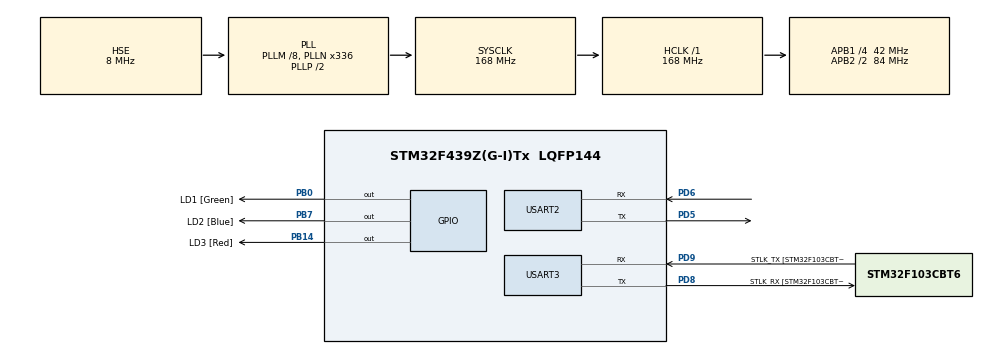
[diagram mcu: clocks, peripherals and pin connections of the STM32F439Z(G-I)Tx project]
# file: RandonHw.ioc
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Mcu.Family=STM32F4
Mcu.Name=STM32F439Z(G-I)Tx
Mcu.Package=LQFP144
NVIC.PriorityGroup=NVIC_PRIORITYGROUP_4
PA13.Mode=Trace_Asynchronous_SW
PA13.Signal=SYS_JTMS-SWDIO
PA14.Mode=Trace_Asynchronous_SW
PA14.Signal=SYS_JTCK-SWCLK
PB0.GPIO_Label=LD1 [Green]
PB0.Signal=GPIO_Output
PB14.GPIO_Label=LD3 [Red]
PB14.Signal=GPIO_Output
PB3.Mode=Trace_Asynchronous_SW
PB3.Signal=SYS_JTDO-SWO
PB7.GPIO_Label=LD2 [Blue]
PB7.Signal=GPIO_Output
PC14/OSC32_IN.Mode=LSE-External-Oscillator
PC14/OSC32_IN.Signal=RCC_OSC32_IN
PC15/OSC32_OUT.Mode=LSE-External-Oscillator
PC15/OSC32_OUT.Signal=RCC_OSC32_OUT
PD5.Mode=Asynchronous
PD5.Signal=USART2_TX
PD6.Mode=Asynchronous
PD6.Signal=USART2_RX
PD8.GPIO_Label=STLK_RX [STM32F103CBT6_PA3]
PD8.Mode=Asynchronous
PD8.Signal=USART3_TX
PD9.GPIO_Label=STLK_TX [STM32F103CBT6_PA2]
PD9.Mode=Asynchronous
PD9.Signal=USART3_RX
PH0/OSC_IN.Mode=HSE-External-Clock-Source
PH0/OSC_IN.Signal=RCC_OSC_IN
PH1/OSC_OUT.Mode=HSE-External-Clock-Source
PH1/OSC_OUT.Signal=RCC_OSC_OUT
ProjectManager.HeapSize=0x200
ProjectManager.StackSize=0x400
ProjectManager.TargetToolchain=CMake
RCC.48MHZClocksFreq_Value=48000000
RCC.AHBFreq_Value=168000000
RCC.APB1CLKDivider=RCC_HCLK_DIV4
RCC.APB1Freq_Value=42000000
RCC.APB1TimFreq_Value=84000000
RCC.APB2CLKDivider=RCC_HCLK_DIV2
RCC.APB2Freq_Value=84000000
RCC.APB2TimFreq_Value=168000000
RCC.CortexFreq_Value=168000000
RCC.HCLKFreq_Value=168000000
RCC.HSE_VALUE=8000000
RCC.HSI_VALUE=16000000
RCC.PLLM=8
RCC.PLLMUL=RCC_PLL_MUL9
RCC.PLLN=336
RCC.PLLQ=7
RCC.PLLSourceVirtual=RCC_PLLSOURCE_HSE
RCC.PRESCALERUSB=RCC_USBCLKSOURCE_PLL_DIV1_5
RCC.SYSCLKFreq_VALUE=168000000
RCC.SYSCLKSource=RCC_SYSCLKSOURCE_PLLCLK
RCC.SYSCLKSourceVirtual=RCC_SYSCLKSOURCE_PLLCLK
RCC.USBFreq_Value=48000000
RCC.VCOOutputFreq_Value=336000000
USART2.VirtualMode=VM_ASYNC
USART3.VirtualMode=VM_ASYNC
VP_RNG_VS_RNG.Mode=RNG_Activate
board=NUCLEO-F439ZI

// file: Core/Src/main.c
/* USER CODE BEGIN Header */
/**
 ******************************************************************************
 * @file           : main.c
 * @brief          : Main program body
 ******************************************************************************
 * @attention
 *
 * Copyright (c) 2026 STMicroelectronics.
 * All rights reserved.
 *
 * This software is licensed under terms that can be found in the LICENSE file
 * in the root directory of this software component.
 * If no LICENSE file comes with this software, it is provided AS-IS.
 *
 ******************************************************************************
 */
/* USER CODE END Header */
#include "main.h"
#include "rng.h"
#include "usart.h"
#include "gpio.h"

/* USER CODE BEGIN Includes */
#include "itm.h"
#include "printITM.h"
#include "printUART.h"
#include <sys/_intsup.h>
#include "ConsoleInterface.h"
/* USER CODE END Includes */

void SystemClock_Config(void);

int main(void)
{

  /* MCU Configuration--------------------------------------------------------*/

  /* Reset of all peripherals, Initializes the Flash interface and the Systick. */
  HAL_Init();

  /* Configure the system clock */
  SystemClock_Config();

  /* Initialize all configured peripherals */
  MX_GPIO_Init();
  MX_USART3_UART_Init();
  MX_RNG_Init();
  MX_USART2_UART_Init();
  /* USER CODE BEGIN 2 */
  ITM_Init();
  CommandUART();
  /* USER CODE END 2 */

  /* Infinite loop */
  /* USER CODE BEGIN WHILE */
  int counter = 0;
  uint32_t random_val;
  while (1) {
    HAL_GPIO_WritePin(GPIOB, LD1_Pin | LD3_Pin | LD2_Pin, GPIO_PIN_SET);
    HAL_Delay(100);
    HAL_GPIO_WritePin(GPIOB, LD1_Pin | LD3_Pin | LD2_Pin, GPIO_PIN_RESET);
    HAL_Delay(100);
    printITMport(0, "Hello World!: %d\r\n", counter);
    printfUARTport(&huart3, "Hello World! UART print: %d\r\n", counter);
    /* Generate a random number with a timeout */
    if (HAL_RNG_GenerateRandomNumber(&hrng, &random_val) == HAL_OK) {

      printfUARTport(&huart2, "Hello World! UART2 print random: %lu\r\n", (unsigned long)random_val);
      printfUARTport(&huart3, "Hello World! UART3 print random: %lu\r\n", (unsigned long)random_val);
      // random_val now contains a true 32-bit random number
    //HAL_Delay(100);
    }

    // UART3_Printf("Hello World! Virtual COM Port \r\n");
    counter++;
    if (counter > 100) {
      counter = 0;
    };
    /* USER CODE END WHILE */

  }
}

void SystemClock_Config(void)
{
  RCC_OscInitTypeDef RCC_OscInitStruct = {0};
  RCC_ClkInitTypeDef RCC_ClkInitStruct = {0};

  /** Configure the main internal regulator output voltage
  */
  __HAL_RCC_PWR_CLK_ENABLE();
  __HAL_PWR_VOLTAGESCALING_CONFIG(PWR_REGULATOR_VOLTAGE_SCALE1);

  /** Initializes the RCC Oscillators according to the specified parameters
  * in the RCC_OscInitTypeDef structure.
  */
  RCC_OscInitStruct.OscillatorType = RCC_OSCILLATORTYPE_HSE;
  RCC_OscInitStruct.HSEState = RCC_HSE_BYPASS;
  RCC_OscInitStruct.PLL.PLLState = RCC_PLL_ON;
  RCC_OscInitStruct.PLL.PLLSource = RCC_PLLSOURCE_HSE;
  RCC_OscInitStruct.PLL.PLLM = 8;
  RCC_OscInitStruct.PLL.PLLN = 336;
  RCC_OscInitStruct.PLL.PLLP = RCC_PLLP_DIV2;
  RCC_OscInitStruct.PLL.PLLQ = 7;
  if (HAL_RCC_OscConfig(&RCC_OscInitStruct) != HAL_OK)
  {
    Error_Handler();
  }

  /** Initializes the CPU, AHB and APB buses clocks
  */
  RCC_ClkInitStruct.ClockType = RCC_CLOCKTYPE_HCLK|RCC_CLOCKTYPE_SYSCLK
                              |RCC_CLOCKTYPE_PCLK1|RCC_CLOCKTYPE_PCLK2;
  RCC_ClkInitStruct.SYSCLKSource = RCC_SYSCLKSOURCE_PLLCLK;
  RCC_ClkInitStruct.AHBCLKDivider = RCC_SYSCLK_DIV1;
  RCC_ClkInitStruct.APB1CLKDivider = RCC_HCLK_DIV4;
  RCC_ClkInitStruct.APB2CLKDivider = RCC_HCLK_DIV2;

  if (HAL_RCC_ClockConfig(&RCC_ClkInitStruct, FLASH_LATENCY_5) != HAL_OK)
  {
    Error_Handler();
  }
}

void Error_Handler(void)
{
  __disable_irq();
  while (1) {
  }
}
#ifdef USE_FULL_ASSERT
/**
  * @brief  Reports the name of the source file and the source line number
  *         where the assert_param error has occurred.
  * @param  file: pointer to the source file name
  * @param  line: assert_param error line source number
  * @retval None
  */
void assert_failed(uint8_t *file, uint32_t line)
{
  /* USER CODE BEGIN 6 */
  /* User can add his own implementation to report the file name and line
     number, ex: printf("Wrong parameters value: file %s on line %d\r\n", file,
     line) */
  /* USER CODE END 6 */
}
#endif /* USE_FULL_ASSERT */
